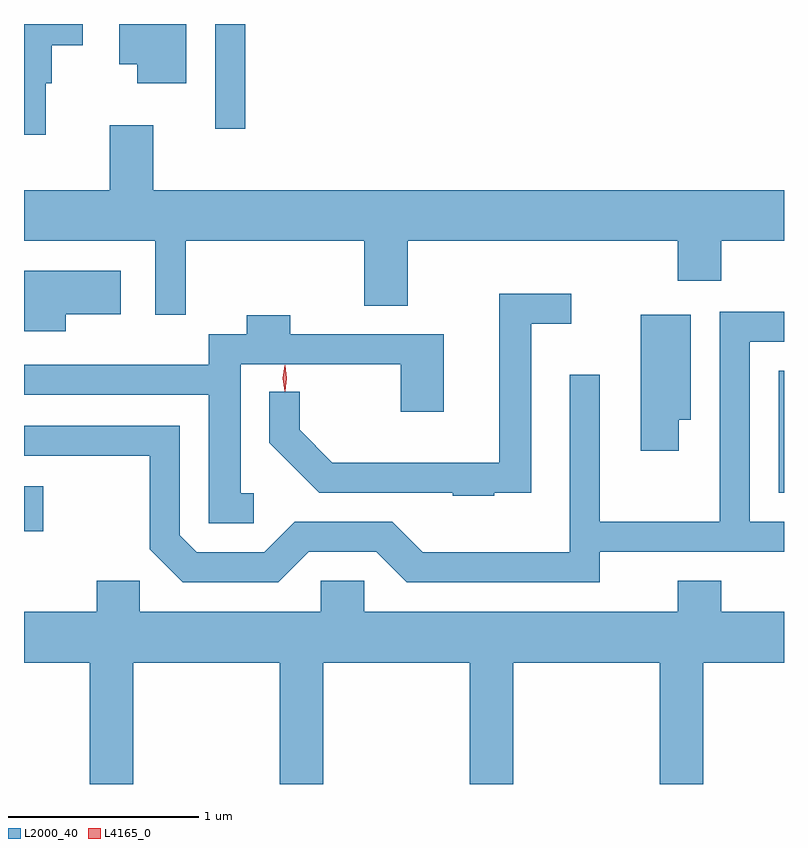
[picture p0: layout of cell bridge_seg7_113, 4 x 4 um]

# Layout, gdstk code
import gdstk
lib = gdstk.Library(unit=1e-6, precision=1e-09)
def R(c, l, rs):  # rectangles x0, y0, x1, y1
    for r in rs: c.add(gdstk.rectangle(r[:2], r[2:], *l))
def P(c, l, *ps):  # polygons
    for p in ps: c.add(gdstk.Polygon(p, *l))
L2000_40 = (2000, 40)
L4165_0 = (4165, 0)

bridge_seg7_113 = lib.new_cell('bridge_seg7_113')
R(bridge_seg7_113, L2000_40, [(1548.119,1777.168,1548.219,1777.404), (1552.091,1777.371,1552.119,1778.014), (1549.126,1779.288,1549.284,1779.838)])
P(bridge_seg7_113, L2000_40, [(1548.974,1779.838),(1548.621,1779.838),(1548.621,1779.626),(1548.716,1779.626),(1548.716,1779.526),(1548.974,1779.526)],
  [(1548.234,1779.526),(1548.264,1779.526),(1548.264,1779.726),(1548.429,1779.726),(1548.429,1779.838),(1548.119,1779.838),(1548.119,1779.256),(1548.234,1779.256)],
  [(1548.799,1779.304),(1548.571,1779.304),(1548.571,1778.964),(1548.119,1778.964),(1548.119,1778.696),(1548.811,1778.696),(1548.811,1778.308),(1548.969,1778.308),(1548.969,1778.696),(1549.911,1778.696),(1549.911,1778.356),(1550.139,1778.356),(1550.139,1778.696),(1551.561,1778.696),(1551.561,1778.486),(1551.789,1778.486),(1551.789,1778.696),(1552.119,1778.696),(1552.119,1778.964),(1548.799,1778.964)],
  [(1548.339,1778.311),(1548.629,1778.311),(1548.629,1778.539),(1548.119,1778.539),(1548.119,1778.221),(1548.339,1778.221)],
  [(1550.595,1777.371),(1550.789,1777.371),(1550.789,1778.261),(1550.998,1778.261),(1550.998,1778.419),(1550.621,1778.419),(1550.621,1777.529),(1549.742,1777.529),(1549.569,1777.702),(1549.569,1777.903),(1549.411,1777.903),(1549.411,1777.634),(1549.674,1777.371),(1550.375,1777.371),(1550.375,1777.356),(1550.595,1777.356)],
  [(1549.617,1777.061),(1549.974,1777.061),(1550.134,1776.901),(1551.149,1776.901),(1551.149,1777.061),(1552.119,1777.061),(1552.119,1777.219),(1551.939,1777.219),(1551.939,1778.166),(1552.119,1778.166),(1552.119,1778.324),(1551.781,1778.324),(1551.781,1777.219),(1551.149,1777.219),(1551.149,1777.993),(1550.991,1777.993),(1550.991,1777.059),(1550.217,1777.059),(1550.057,1777.219),(1549.544,1777.219),(1549.384,1777.059),(1549.027,1777.059),(1548.939,1777.147),(1548.939,1777.724),(1548.119,1777.724),(1548.119,1777.566),(1548.781,1777.566),(1548.781,1777.074),(1548.954,1776.901),(1549.457,1776.901)],
  [(1551.564,1777.756),(1551.629,1777.756),(1551.629,1778.309),(1551.366,1778.309),(1551.366,1777.591),(1551.564,1777.591)],
  [(1549.328,1777.369),(1549.259,1777.369),(1549.259,1778.046),(1550.101,1778.046),(1550.101,1777.796),(1550.329,1777.796),(1550.329,1778.204),(1549.519,1778.204),(1549.519,1778.304),(1549.291,1778.304),(1549.291,1778.204),(1549.091,1778.204),(1549.091,1778.044),(1548.119,1778.044),(1548.119,1777.886),(1549.091,1777.886),(1549.091,1777.211),(1549.328,1777.211)],
  [(1548.694,1776.476),(1549.466,1776.476),(1549.466,1775.838),(1549.694,1775.838),(1549.694,1776.476),(1550.466,1776.476),(1550.466,1775.838),(1550.694,1775.838),(1550.694,1776.476),(1551.466,1776.476),(1551.466,1775.838),(1551.694,1775.838),(1551.694,1776.476),(1552.119,1776.476),(1552.119,1776.744),(1551.789,1776.744),(1551.789,1776.909),(1551.561,1776.909),(1551.561,1776.744),(1549.909,1776.744),(1549.909,1776.909),(1549.681,1776.909),(1549.681,1776.744),(1548.729,1776.744),(1548.729,1776.909),(1548.501,1776.909),(1548.501,1776.744),(1548.119,1776.744),(1548.119,1776.476),(1548.466,1776.476),(1548.466,1775.838),(1548.694,1775.838)])
P(bridge_seg7_113, L4165_0, [(1549.492,1777.903),(1549.492,1777.904),(1549.482,1777.973),(1549.492,1778.042),(1549.492,1778.043),(1549.493,1778.042),(1549.502,1777.973),(1549.493,1777.904)])

lib.write_gds('bridge_seg7_113.gds')
